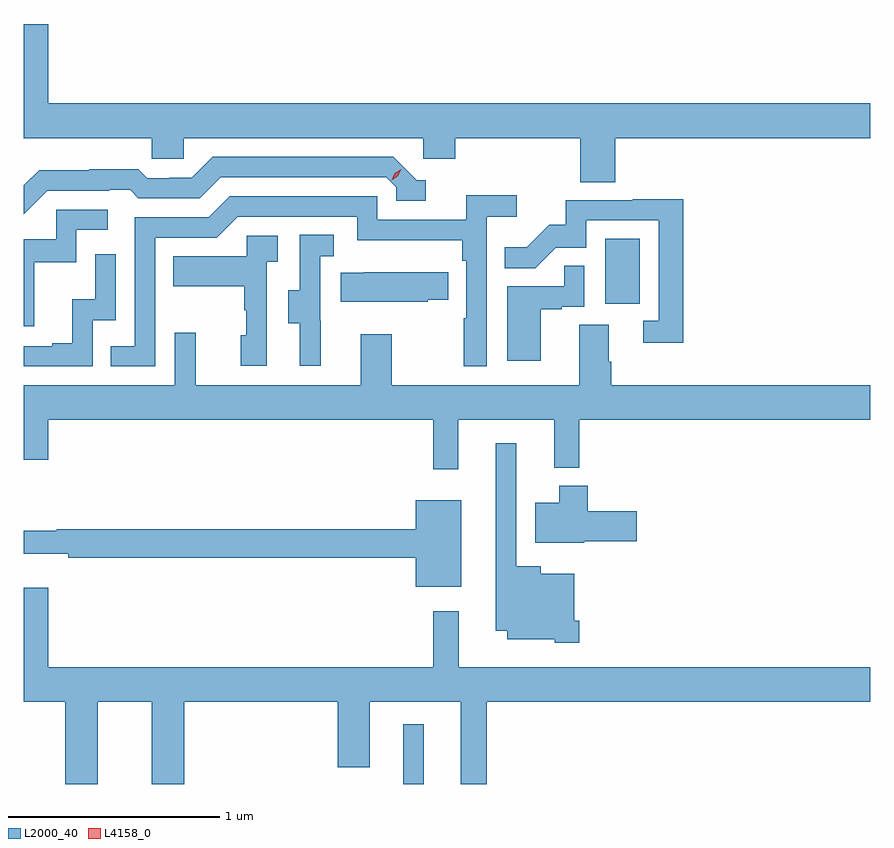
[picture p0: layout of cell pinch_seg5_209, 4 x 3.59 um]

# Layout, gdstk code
import gdstk
lib = gdstk.Library(unit=1e-6, precision=1e-09)
def R(c, l, rs):  # rectangles x0, y0, x1, y1
    for r in rs: c.add(gdstk.rectangle(r[:2], r[2:], *l))
def P(c, l, *ps):  # polygons
    for p in ps: c.add(gdstk.Polygon(p, *l))
L2000_40 = (2000, 40)
L4158_0 = (4158, 0)

pinch_seg5_209 = lib.new_cell('pinch_seg5_209')
R(pinch_seg5_209, L2000_40, [(1006.01,905.656,1006.108,905.938), (1006.964,907.926,1007.128,908.233)])
P(pinch_seg5_209, L2000_40, [(1007.012,908.708),(1008.217,908.708),(1008.217,908.872),(1004.332,908.872),(1004.332,909.247),(1004.217,909.247),(1004.217,908.708),(1004.823,908.708),(1004.823,908.61),(1004.973,908.61),(1004.973,908.708),(1006.104,908.708),(1006.104,908.61),(1006.256,908.61),(1006.256,908.708),(1006.847,908.708),(1006.847,908.5),(1007.012,908.5)],
  [(1004.328,908.46),(1004.621,908.46),(1004.621,908.463),(1004.72,908.463),(1004.759,908.424),(1005.048,908.424),(1005.147,908.523),(1005.93,908.523),(1005.978,908.475),(1005.978,908.412),(1006.117,908.412),(1006.117,908.508),(1006.074,908.508),(1005.963,908.619),(1005.11,908.619),(1005.011,908.52),(1004.904,908.52),(1004.904,908.517),(1004.801,908.517),(1004.759,908.56),(1004.526,908.56),(1004.526,908.557),(1004.29,908.557),(1004.217,908.484),(1004.217,908.349)],
  [(1004.838,908.238),(1005.129,908.238),(1005.228,908.337),(1005.792,908.337),(1005.792,908.225),(1006.288,908.225),(1006.288,908.129),(1006.308,908.129),(1006.308,907.856),(1006.296,907.856),(1006.296,907.629),(1006.404,907.629),(1006.404,908.336),(1006.546,908.336),(1006.546,908.438),(1006.307,908.438),(1006.307,908.322),(1005.888,908.322),(1005.888,908.433),(1005.191,908.433),(1005.092,908.334),(1004.742,908.334),(1004.742,907.725),(1004.629,907.725),(1004.629,907.629),(1004.838,907.629)],
  [(1007.333,908.42),(1007.095,908.42),(1007.095,908.415),(1006.777,908.415),(1006.777,908.298),(1006.7,908.298),(1006.593,908.191),(1006.489,908.191),(1006.489,908.092),(1006.633,908.092),(1006.731,908.19),(1006.875,908.19),(1006.875,908.319),(1007.217,908.319),(1007.217,907.845),(1007.145,907.845),(1007.145,907.74),(1007.333,907.74)],
  [(1004.267,908.121),(1004.466,908.121),(1004.466,908.274),(1004.614,908.274),(1004.614,908.37),(1004.37,908.37),(1004.37,908.229),(1004.217,908.229),(1004.217,907.818),(1004.267,907.818)],
  [(1005.62,907.845),(1005.618,907.845),(1005.618,908.149),(1005.682,908.149),(1005.682,908.252),(1005.522,908.252),(1005.522,907.989),(1005.467,907.989),(1005.467,907.834),(1005.521,907.834),(1005.521,907.632),(1005.62,907.632)],
  [(1005.366,908.123),(1005.418,908.123),(1005.418,908.247),(1005.27,908.247),(1005.27,908.149),(1004.923,908.149),(1004.923,908.009),(1005.258,908.009),(1005.258,907.895),(1005.268,907.895),(1005.268,907.776),(1005.242,907.776),(1005.242,907.632),(1005.366,907.632)],
  [(1004.544,907.848),(1004.652,907.848),(1004.652,908.158),(1004.556,908.158),(1004.556,907.946),(1004.447,907.946),(1004.447,907.738),(1004.351,907.738),(1004.351,907.725),(1004.217,907.725),(1004.217,907.629),(1004.544,907.629)],
  [(1006.66,907.899),(1006.76,907.899),(1006.76,907.911),(1006.866,907.911),(1006.866,908.105),(1006.771,908.105),(1006.771,908.007),(1006.502,908.007),(1006.502,907.656),(1006.66,907.656)],
  [(1006.125,907.945),(1006.223,907.945),(1006.223,908.074),(1005.823,908.074),(1005.823,908.071),(1005.715,908.071),(1005.715,907.934),(1006.125,907.934)],
  [(1006.271,907.376),(1006.724,907.376),(1006.724,907.151),(1006.841,907.151),(1006.841,907.376),(1008.217,907.376),(1008.217,907.54),(1006.994,907.54),(1006.994,907.652),(1006.981,907.652),(1006.981,907.826),(1006.841,907.826),(1006.841,907.54),(1005.957,907.54),(1005.957,907.78),(1005.809,907.78),(1005.809,907.54),(1005.029,907.54),(1005.029,907.789),(1004.931,907.789),(1004.931,907.54),(1004.217,907.54),(1004.217,907.188),(1004.332,907.188),(1004.332,907.376),(1006.153,907.376),(1006.153,907.143),(1006.271,907.143)],
  [(1006.841,906.427),(1006.819,906.427),(1006.819,906.649),(1006.66,906.649),(1006.66,906.685),(1006.545,906.685),(1006.545,907.267),(1006.448,907.267),(1006.448,906.38),(1006.502,906.38),(1006.502,906.341),(1006.725,906.341),(1006.725,906.323),(1006.841,906.323)],
  [(1006.866,906.803),(1007.113,906.803),(1007.113,906.945),(1006.883,906.945),(1006.883,907.066),(1006.748,907.066),(1006.748,906.985),(1006.634,906.985),(1006.634,906.797),(1006.866,906.797)],
  [(1006.285,906.997),(1006.07,906.997),(1006.07,906.86),(1004.374,906.86),(1004.374,906.853),(1004.217,906.853),(1004.217,906.743),(1004.428,906.743),(1004.428,906.724),(1006.07,906.724),(1006.07,906.587),(1006.285,906.587)],
  [(1004.566,906.044),(1004.822,906.044),(1004.822,905.656),(1004.975,905.656),(1004.975,906.044),(1005.701,906.044),(1005.701,905.735),(1005.853,905.735),(1005.853,906.044),(1006.283,906.044),(1006.283,905.656),(1006.405,905.656),(1006.405,906.044),(1008.217,906.044),(1008.217,906.208),(1006.272,906.208),(1006.272,906.472),(1006.153,906.472),(1006.153,906.208),(1004.332,906.208),(1004.332,906.583),(1004.217,906.583),(1004.217,906.044),(1004.414,906.044),(1004.414,905.656),(1004.566,905.656)])
P(pinch_seg5_209, L4158_0, [(1005.955,908.508),(1005.955,908.509),(1005.97,908.541),(1006.001,908.561),(1006.001,908.561),(1006.001,908.561),(1005.985,908.528),(1005.955,908.508)])

lib.write_gds('pinch_seg5_209.gds')
